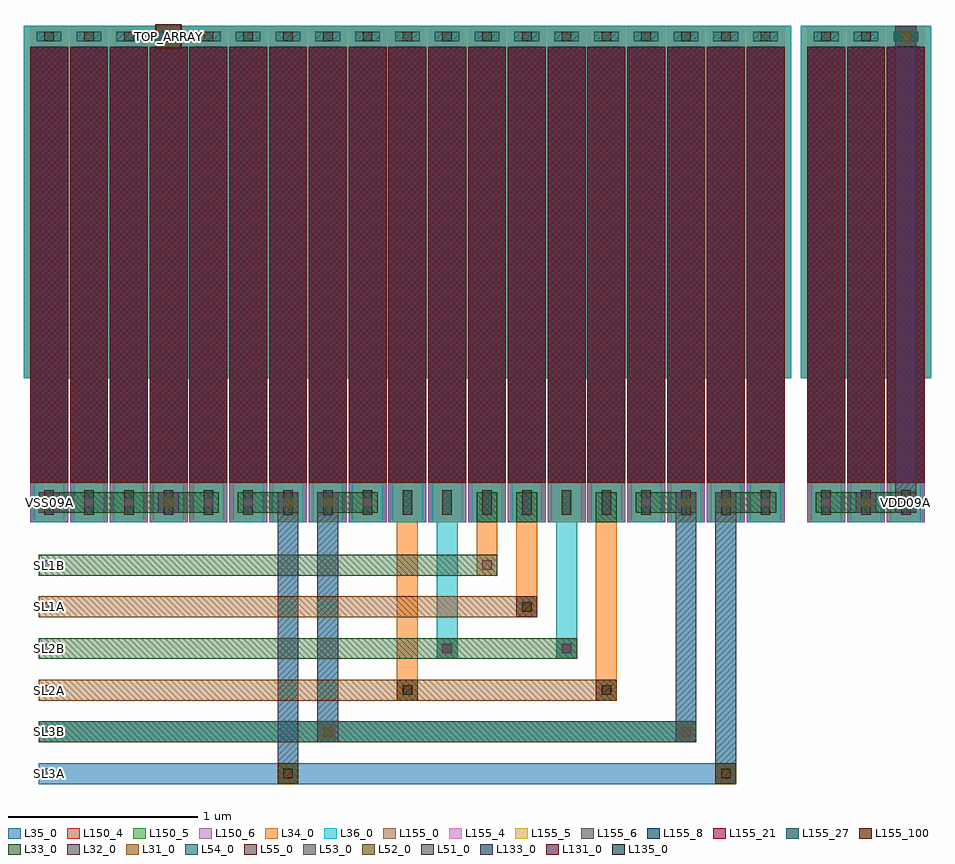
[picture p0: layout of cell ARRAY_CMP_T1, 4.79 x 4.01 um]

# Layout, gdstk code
from math import pi, radians
import gdstk
lib = gdstk.Library(unit=1e-6, precision=1e-09)
def R(c, l, rs):  # rectangles x0, y0, x1, y1
    for r in rs: c.add(gdstk.rectangle(r[:2], r[2:], *l))
def A(c, l, x, y, w, h, nx, ny, dx, dy):  # array of equal rectangles
    R(c, l, [(x+i*dx, y+j*dy, x+i*dx+w, y+j*dy+h) for i in range(nx) for j in range(ny)])
L31_0 = (31, 0)
L32_0 = (32, 0)
L33_0 = (33, 0)
L34_0 = (34, 0)
L35_0 = (35, 0)
L36_0 = (36, 0)
L51_0 = (51, 0)
L52_0 = (52, 0)
L53_0 = (53, 0)
L54_0 = (54, 0)
L55_0 = (55, 0)
L131_0 = (131, 0)
L133_0 = (133, 0)
L135_0 = (135, 0)
L150_4 = (150, 4)
L150_5 = (150, 5)
L150_6 = (150, 6)
L155_0 = (155, 0)
L155_4 = (155, 4)
L155_5 = (155, 5)
L155_6 = (155, 6)
L155_8 = (155, 8)
L155_21 = (155, 21)
L155_27 = (155, 27)
L155_100 = (155, 100)

m5_m4_cdns_622473370088 = lib.new_cell('M5_M4_CDNS_622473370088')
R(m5_m4_cdns_622473370088, L34_0, [(-0.07,-0.105,0.07,0.105)])
R(m5_m4_cdns_622473370088, L35_0, [(-0.07,-0.105,0.07,0.105)])
R(m5_m4_cdns_622473370088, L54_0, [(-0.025,-0.065,0.025,0.065)])

m6_m5_cdns_622473370089 = lib.new_cell('M6_M5_CDNS_622473370089')
R(m6_m5_cdns_622473370089, L35_0, [(-0.07,-0.105,0.07,0.105)])
R(m6_m5_cdns_622473370089, L36_0, [(-0.055,-0.105,0.055,0.105)])
R(m6_m5_cdns_622473370089, L55_0, [(-0.025,-0.065,0.025,0.065)])

m5_m4_cdns_6224733700810 = lib.new_cell('M5_M4_CDNS_6224733700810')
R(m5_m4_cdns_6224733700810, L34_0, [(-0.095,-0.055,0.095,0.055)])
R(m5_m4_cdns_6224733700810, L35_0, [(-0.12,-0.055,0.12,0.055)])
R(m5_m4_cdns_6224733700810, L54_0, [(-0.065,-0.025,0.065,0.025)])

m6_m5_cdns_622473370086 = lib.new_cell('M6_M5_CDNS_622473370086')
R(m6_m5_cdns_622473370086, L35_0, [(-0.055,-0.055,0.055,0.055)])
R(m6_m5_cdns_622473370086, L36_0, [(-0.055,-0.055,0.055,0.055)])
R(m6_m5_cdns_622473370086, L55_0, [(-0.025,-0.025,0.025,0.025)])

cu1f = lib.new_cell('CU1F')
R(cu1f, L34_0, [(0.02,0,0.18,0.21), (-0.035,2.51,0.235,2.62)])
R(cu1f, L35_0, [(0.02,0,0.18,0.21), (-0.035,2.51,0.235,2.62)])
R(cu1f, L36_0, [(0.02,0,0.18,0.21), (-0.035,2.51,0.235,2.62)])
R(cu1f, L150_4, [(0,0,0.2,2.62)])
R(cu1f, L150_5, [(0,0,0.2,2.62)])
R(cu1f, L150_6, [(0,0,0.2,2.62)])
R(cu1f, L155_0, [(0,0.21,0.2,2.51)])
R(cu1f, L155_4, [(0,0.21,0.2,2.51)])
R(cu1f, L155_5, [(0,0.21,0.2,2.51)])
R(cu1f, L155_6, [(0,0.21,0.2,2.51)])
R(cu1f, L155_8, [(0,0.21,0.2,2.51)])
R(cu1f, L155_21, [(0,0.21,0.2,2.51)])
R(cu1f, L155_27, [(0,0.21,0.2,2.51)])
R(cu1f, L155_100, [(0,0.21,0.2,2.51)])
cu1f.add(gdstk.FlexPath([(0.205,2.59),(0.205,0.76)], 0.06, ends=(0.03, 0), simple_path=True, layer=34, datatype=0))  # L34_0
cu1f.add(gdstk.FlexPath([(0.1,2.41),(0.1,0)], 0.05, ends="flush", simple_path=True, layer=34, datatype=0))  # L34_0
cu1f.add(gdstk.FlexPath([(-0.005,2.59),(-0.005,0.76)], 0.06, ends=(0.03, 0), simple_path=True, layer=34, datatype=0))  # L34_0
cu1f.add(gdstk.FlexPath([(0.205,0.76),(0.205,2.59)], 0.06, ends=(0, 0.03), simple_path=True, layer=35, datatype=0))  # L35_0
cu1f.add(gdstk.FlexPath([(0.1,2.41),(0.1,0)], 0.05, ends="flush", simple_path=True, layer=35, datatype=0))  # L35_0
cu1f.add(gdstk.FlexPath([(-0.005,0.76),(-0.005,2.59)], 0.06, ends=(0, 0.03), simple_path=True, layer=35, datatype=0))  # L35_0
cu1f.add(gdstk.FlexPath([(0.205,0.76),(0.205,2.59)], 0.06, ends=(0, 0.03), simple_path=True, layer=36, datatype=0))  # L36_0
cu1f.add(gdstk.FlexPath([(0.1,2.41),(0.1,0)], 0.05, ends="flush", simple_path=True, layer=36, datatype=0))  # L36_0
cu1f.add(gdstk.FlexPath([(-0.005,0.76),(-0.005,2.59)], 0.06, ends=(0, 0.03), simple_path=True, layer=36, datatype=0))  # L36_0
cu1f.add(gdstk.Reference(m5_m4_cdns_622473370088, (0.1,0.105), rotation=pi, x_reflection=True))
cu1f.add(gdstk.Reference(m6_m5_cdns_622473370089, (0.1,0.105), rotation=pi, x_reflection=True))
cu1f.add(gdstk.Reference(m5_m4_cdns_6224733700810, (0.1,2.565)))
cu1f.add(gdstk.Reference(m6_m5_cdns_622473370086, (0.1,2.565)))

m2_m1_cdns_622473370080 = lib.new_cell('M2_M1_CDNS_622473370080')
R(m2_m1_cdns_622473370080, L31_0, [(-0.055,-0.055,0.055,0.055)])
R(m2_m1_cdns_622473370080, L32_0, [(-0.055,-0.055,0.055,0.055)])
R(m2_m1_cdns_622473370080, L51_0, [(-0.025,-0.025,0.025,0.025)])

m3_m2_cdns_622473370081 = lib.new_cell('M3_M2_CDNS_622473370081')
R(m3_m2_cdns_622473370081, L32_0, [(-0.055,-0.055,0.055,0.055)])
R(m3_m2_cdns_622473370081, L33_0, [(-0.055,-0.055,0.055,0.055)])
R(m3_m2_cdns_622473370081, L52_0, [(-0.025,-0.025,0.025,0.025)])

m4_m3_cdns_622473370082 = lib.new_cell('M4_M3_CDNS_622473370082')
R(m4_m3_cdns_622473370082, L33_0, [(-0.055,-0.055,0.055,0.055)])
R(m4_m3_cdns_622473370082, L34_0, [(-0.055,-0.055,0.055,0.055)])
R(m4_m3_cdns_622473370082, L53_0, [(-0.025,-0.025,0.025,0.025)])

m4_m3_cdns_622473370083 = lib.new_cell('M4_M3_CDNS_622473370083')
R(m4_m3_cdns_622473370083, L33_0, [(-0.07,-0.065,0.07,0.065)])
R(m4_m3_cdns_622473370083, L34_0, [(-0.055,-0.055,0.055,0.055)])
R(m4_m3_cdns_622473370083, L53_0, [(-0.025,-0.025,0.025,0.025)])

m3_m2_cdns_622473370084 = lib.new_cell('M3_M2_CDNS_622473370084')
R(m3_m2_cdns_622473370084, L32_0, [(-0.065,-0.06,0.065,0.06)])
R(m3_m2_cdns_622473370084, L33_0, [(-0.07,-0.065,0.07,0.065)])
R(m3_m2_cdns_622473370084, L52_0, [(-0.025,-0.025,0.025,0.025)])

m2_m1_cdns_622473370085 = lib.new_cell('M2_M1_CDNS_622473370085')
R(m2_m1_cdns_622473370085, L31_0, [(-0.055,-0.055,0.055,0.055)])
R(m2_m1_cdns_622473370085, L32_0, [(-0.065,-0.06,0.065,0.06)])
R(m2_m1_cdns_622473370085, L51_0, [(-0.025,-0.025,0.025,0.025)])

m5_m4_cdns_622473370087 = lib.new_cell('M5_M4_CDNS_622473370087')
R(m5_m4_cdns_622473370087, L34_0, [(-0.055,-0.055,0.055,0.055)])
R(m5_m4_cdns_622473370087, L35_0, [(-0.055,-0.055,0.055,0.055)])
R(m5_m4_cdns_622473370087, L54_0, [(-0.025,-0.025,0.025,0.025)])

array_cmp_t1 = lib.new_cell('ARRAY_CMP_T1')
R(array_cmp_t1, L31_0, [(-0.055,-0.94,2.995,-0.83), (-0.055,-0.5,2.575,-0.39), (0.56,2.5,0.7,2.63)])
R(array_cmp_t1, L32_0, [(1.205,-1.38,1.315,0.16), (3.515,-1.38,3.625,0.16), (1.415,-1.16,1.525,0.16), (3.305,-1.16,3.415,0.16), (4.465,0.05,4.575,2.62)])
R(array_cmp_t1, L33_0, [(-0.055,-1.16,3.415,-1.05), (-0.055,-0.72,2.785,-0.61), (-0.055,-0.28,2.365,-0.17), (2.255,0,2.365,0.16), (2.465,0,2.575,0.16), (2.885,0,2.995,0.16), (-0.055,0.05,0.895,0.16), (0.995,0.05,1.315,0.16), (1.415,0.05,1.735,0.16), (3.095,0.05,3.415,0.16), (3.515,0.05,3.835,0.16), (4.045,0.05,4.575,0.16), (4.465,2.51,4.575,2.62)])
R(array_cmp_t1, L34_0, [(1.835,-0.94,1.945,0.16), (2.885,-0.94,2.995,0.16), (2.465,-0.5,2.575,0.16), (2.255,-0.28,2.365,0.16)])
R(array_cmp_t1, L35_0, [(-0.055,-1.38,3.625,-1.27), (-0.055,-1.16,3.415,-1.05)])
R(array_cmp_t1, L36_0, [(1.205,-1.38,1.315,0.16), (3.515,-1.38,3.625,0.16), (1.415,-1.16,1.525,0.16), (3.305,-1.16,3.415,0.16), (2.045,-0.72,2.155,0.16), (2.675,-0.72,2.785,0.16)])
R(array_cmp_t1, L131_0, [(-0.025,-0.91,0.025,-0.86), (-0.025,-0.47,0.025,-0.42), (0.605,2.54,0.655,2.59)])
A(array_cmp_t1, L133_0, -0.025, -1.13, 0.05, 0.05, 1, 3, 0, 0.44)
R(array_cmp_t1, L133_0, [(-0.025,0.08,0.025,0.13), (4.495,0.08,4.545,0.13)])
R(array_cmp_t1, L135_0, [(-0.025,-1.35,0.025,-1.3)])
array_cmp_t1.add(gdstk.Reference(cu1f, (4,0)))
array_cmp_t1.add(gdstk.Reference(cu1f, (4.21,0)))
array_cmp_t1.add(gdstk.Reference(cu1f, (0.53,0)))
array_cmp_t1.add(gdstk.Reference(cu1f, (0.74,0)))
array_cmp_t1.add(gdstk.Reference(cu1f, (4.42,0)))
array_cmp_t1.add(gdstk.Reference(cu1f, (0.32,0)))
array_cmp_t1.add(gdstk.Reference(cu1f, (0.11,0)))
array_cmp_t1.add(gdstk.Reference(cu1f, (-0.1,0)))
array_cmp_t1.add(gdstk.Reference(cu1f, (3.68,0)))
array_cmp_t1.add(gdstk.Reference(cu1f, (3.47,0)))
array_cmp_t1.add(gdstk.Reference(cu1f, (3.26,0)))
array_cmp_t1.add(gdstk.Reference(cu1f, (3.05,0)))
array_cmp_t1.add(gdstk.Reference(cu1f, (2.84,0)))
array_cmp_t1.add(gdstk.Reference(cu1f, (2.63,0)))
array_cmp_t1.add(gdstk.Reference(cu1f, (2.42,0)))
array_cmp_t1.add(gdstk.Reference(cu1f, (2.21,0)))
array_cmp_t1.add(gdstk.Reference(cu1f, (2,0)))
array_cmp_t1.add(gdstk.Reference(cu1f, (1.79,0)))
array_cmp_t1.add(gdstk.Reference(cu1f, (1.58,0)))
array_cmp_t1.add(gdstk.Reference(cu1f, (1.37,0)))
array_cmp_t1.add(gdstk.Reference(cu1f, (1.16,0)))
array_cmp_t1.add(gdstk.Reference(cu1f, (0.95,0)))
array_cmp_t1.add(gdstk.Reference(m2_m1_cdns_622473370080, (1.26,-1.325)))
array_cmp_t1.add(gdstk.Reference(m2_m1_cdns_622473370080, (3.57,-1.325)))
array_cmp_t1.add(gdstk.Reference(m2_m1_cdns_622473370080, (1.89,-0.885)))
array_cmp_t1.add(gdstk.Reference(m2_m1_cdns_622473370080, (2.52,-0.445)))
array_cmp_t1.add(gdstk.Reference(m2_m1_cdns_622473370080, (2.94,-0.885)))
array_cmp_t1.add(gdstk.Reference(m3_m2_cdns_622473370081, (4.52,2.565)))
array_cmp_t1.add(gdstk.Reference(m3_m2_cdns_622473370081, (2.52,-0.445)))
array_cmp_t1.add(gdstk.Reference(m3_m2_cdns_622473370081, (1.26,-1.325)))
array_cmp_t1.add(gdstk.Reference(m3_m2_cdns_622473370081, (2.94,-0.885)))
array_cmp_t1.add(gdstk.Reference(m3_m2_cdns_622473370081, (1.47,0.105)))
array_cmp_t1.add(gdstk.Reference(m3_m2_cdns_622473370081, (1.47,-1.105)))
array_cmp_t1.add(gdstk.Reference(m3_m2_cdns_622473370081, (3.57,-1.325)))
array_cmp_t1.add(gdstk.Reference(m3_m2_cdns_622473370081, (3.36,-1.105)))
array_cmp_t1.add(gdstk.Reference(m3_m2_cdns_622473370081, (4.52,0.105)))
array_cmp_t1.add(gdstk.Reference(m3_m2_cdns_622473370081, (1.26,0.105)))
array_cmp_t1.add(gdstk.Reference(m3_m2_cdns_622473370081, (0,0.105)))
array_cmp_t1.add(gdstk.Reference(m3_m2_cdns_622473370081, (0.63,0.105)))
array_cmp_t1.add(gdstk.Reference(m3_m2_cdns_622473370081, (4.31,0.105)))
array_cmp_t1.add(gdstk.Reference(m3_m2_cdns_622473370081, (3.36,0.105)))
array_cmp_t1.add(gdstk.Reference(m3_m2_cdns_622473370081, (1.89,-0.885)))
array_cmp_t1.add(gdstk.Reference(m3_m2_cdns_622473370081, (3.57,0.105)))
array_cmp_t1.add(gdstk.Reference(m4_m3_cdns_622473370082, (4.52,2.565), rotation=pi, x_reflection=True))
array_cmp_t1.add(gdstk.Reference(m4_m3_cdns_622473370082, (2.1,-0.665)))
array_cmp_t1.add(gdstk.Reference(m4_m3_cdns_622473370082, (2.94,-0.885)))
array_cmp_t1.add(gdstk.Reference(m4_m3_cdns_622473370082, (1.26,-1.325)))
array_cmp_t1.add(gdstk.Reference(m4_m3_cdns_622473370082, (2.31,-0.225)))
array_cmp_t1.add(gdstk.Reference(m4_m3_cdns_622473370082, (1.68,0.105)))
array_cmp_t1.add(gdstk.Reference(m4_m3_cdns_622473370082, (3.78,0.105)))
array_cmp_t1.add(gdstk.Reference(m4_m3_cdns_622473370082, (3.15,0.105)))
array_cmp_t1.add(gdstk.Reference(m4_m3_cdns_622473370082, (1.89,-0.885)))
array_cmp_t1.add(gdstk.Reference(m4_m3_cdns_622473370082, (3.57,-1.325)))
array_cmp_t1.add(gdstk.Reference(m4_m3_cdns_622473370082, (4.52,0.105)))
array_cmp_t1.add(gdstk.Reference(m4_m3_cdns_622473370082, (3.57,0.105)))
array_cmp_t1.add(gdstk.Reference(m4_m3_cdns_622473370082, (0.21,0.105)))
array_cmp_t1.add(gdstk.Reference(m4_m3_cdns_622473370082, (0.42,0.105)))
array_cmp_t1.add(gdstk.Reference(m4_m3_cdns_622473370082, (0,0.105)))
array_cmp_t1.add(gdstk.Reference(m4_m3_cdns_622473370082, (0.84,0.105)))
array_cmp_t1.add(gdstk.Reference(m4_m3_cdns_622473370082, (0.63,0.105)))
array_cmp_t1.add(gdstk.Reference(m4_m3_cdns_622473370082, (3.36,0.105)))
array_cmp_t1.add(gdstk.Reference(m4_m3_cdns_622473370082, (4.1,0.105)))
array_cmp_t1.add(gdstk.Reference(m4_m3_cdns_622473370082, (4.31,0.105)))
array_cmp_t1.add(gdstk.Reference(m4_m3_cdns_622473370082, (2.73,-0.665)))
array_cmp_t1.add(gdstk.Reference(m4_m3_cdns_622473370082, (1.26,0.105)))
array_cmp_t1.add(gdstk.Reference(m4_m3_cdns_622473370082, (3.36,-1.105)))
array_cmp_t1.add(gdstk.Reference(m4_m3_cdns_622473370082, (2.52,-0.445)))
array_cmp_t1.add(gdstk.Reference(m4_m3_cdns_622473370082, (1.47,0.105)))
array_cmp_t1.add(gdstk.Reference(m4_m3_cdns_622473370082, (1.47,-1.105)))
array_cmp_t1.add(gdstk.Reference(m4_m3_cdns_622473370082, (1.05,0.105)))
array_cmp_t1.add(gdstk.Reference(m4_m3_cdns_622473370083, (0.63,2.565)))
array_cmp_t1.add(gdstk.Reference(m3_m2_cdns_622473370084, (0.63,2.565)))
array_cmp_t1.add(gdstk.Reference(m2_m1_cdns_622473370085, (0.63,2.565)))
array_cmp_t1.add(gdstk.Reference(m6_m5_cdns_622473370086, (3.36,0.105)))
array_cmp_t1.add(gdstk.Reference(m6_m5_cdns_622473370086, (2.1,-0.665)))
array_cmp_t1.add(gdstk.Reference(m6_m5_cdns_622473370086, (3.57,-1.325)))
array_cmp_t1.add(gdstk.Reference(m6_m5_cdns_622473370086, (1.26,0.105)))
array_cmp_t1.add(gdstk.Reference(m6_m5_cdns_622473370086, (3.57,0.105)))
array_cmp_t1.add(gdstk.Reference(m6_m5_cdns_622473370086, (1.47,-1.105)))
array_cmp_t1.add(gdstk.Reference(m6_m5_cdns_622473370086, (2.73,-0.665)))
array_cmp_t1.add(gdstk.Reference(m6_m5_cdns_622473370086, (3.36,-1.105)))
array_cmp_t1.add(gdstk.Reference(m6_m5_cdns_622473370086, (1.26,-1.325)))
array_cmp_t1.add(gdstk.Reference(m6_m5_cdns_622473370086, (1.47,0.105)))
array_cmp_t1.add(gdstk.Reference(m5_m4_cdns_622473370087, (3.36,-1.105)))
array_cmp_t1.add(gdstk.Reference(m5_m4_cdns_622473370087, (2.1,-0.665)))
array_cmp_t1.add(gdstk.Reference(m5_m4_cdns_622473370087, (1.26,0.105)))
array_cmp_t1.add(gdstk.Reference(m5_m4_cdns_622473370087, (3.57,0.105)))
array_cmp_t1.add(gdstk.Reference(m5_m4_cdns_622473370087, (1.47,0.105)))
array_cmp_t1.add(gdstk.Reference(m5_m4_cdns_622473370087, (1.47,-1.105)))
array_cmp_t1.add(gdstk.Reference(m5_m4_cdns_622473370087, (3.57,-1.325)))
array_cmp_t1.add(gdstk.Reference(m5_m4_cdns_622473370087, (3.36,0.105)))
array_cmp_t1.add(gdstk.Reference(m5_m4_cdns_622473370087, (2.73,-0.665)))
array_cmp_t1.add(gdstk.Reference(m5_m4_cdns_622473370087, (1.26,-1.325)))
array_cmp_t1.add(gdstk.Label('SL3B', (0,-1.105), layer=133, texttype=0))
array_cmp_t1.add(gdstk.Label('VDD09A', (4.52,0.105), layer=133, texttype=0))
array_cmp_t1.add(gdstk.Label('SL1B', (0,-0.225), layer=133, texttype=0))
array_cmp_t1.add(gdstk.Label('VSS09A', (0,0.105), layer=133, texttype=0))
array_cmp_t1.add(gdstk.Label('SL2B', (0,-0.665), layer=133, texttype=0))
array_cmp_t1.add(gdstk.Label('SL1A', (0,-0.445), layer=131, texttype=0))
array_cmp_t1.add(gdstk.Label('SL2A', (0,-0.885), layer=131, texttype=0))
array_cmp_t1.add(gdstk.Label('TOP_ARRAY', (0.628,2.565), layer=131, texttype=0))
array_cmp_t1.add(gdstk.Label('SL3A', (0,-1.325), layer=135, texttype=0))

lib.write_gds('ARRAY_CMP_T1.gds')
